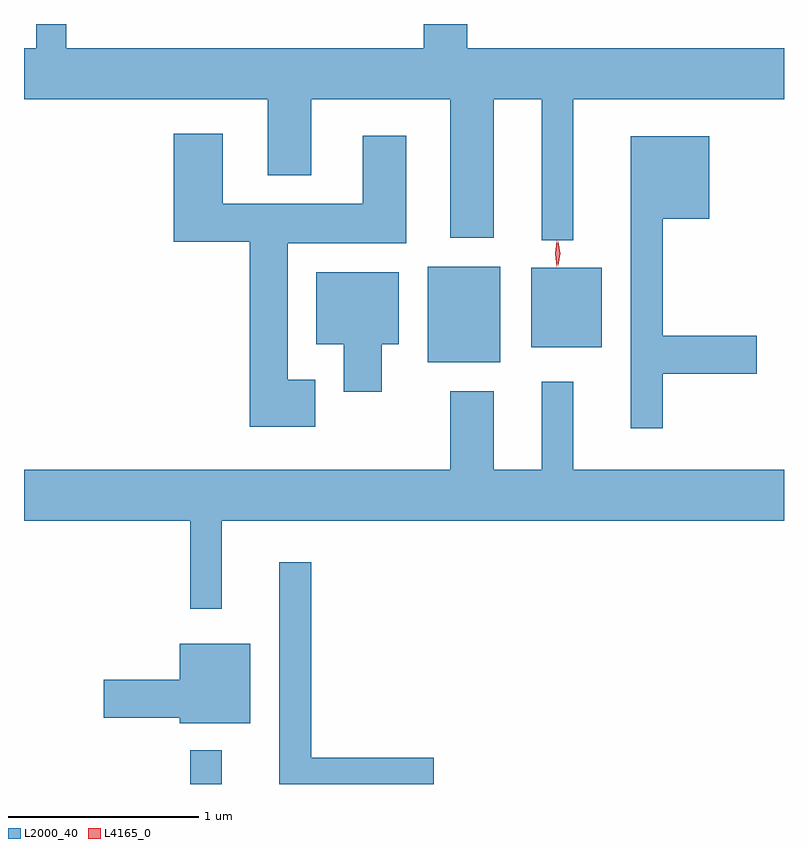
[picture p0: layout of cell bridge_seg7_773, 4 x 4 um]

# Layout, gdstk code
import gdstk
lib = gdstk.Library(unit=1e-6, precision=1e-09)
def R(c, l, rs):  # rectangles x0, y0, x1, y1
    for r in rs: c.add(gdstk.rectangle(r[:2], r[2:], *l))
def P(c, l, *ps):  # polygons
    for p in ps: c.add(gdstk.Polygon(p, *l))
L2000_40 = (2000, 40)
L4165_0 = (4165, 0)

bridge_seg7_773 = lib.new_cell('bridge_seg7_773')
R(bridge_seg7_773, L2000_40, [(259.381,1786.191,259.549,1786.368), (260.631,1788.411,261.014,1788.914), (261.176,1788.491,261.549,1788.909)])
P(bridge_seg7_773, L2000_40, [(261.399,1789.796),(262.507,1789.796),(262.507,1790.064),(260.839,1790.064),(260.839,1790.191),(260.611,1790.191),(260.611,1790.064),(258.729,1790.064),(258.729,1790.191),(258.571,1790.191),(258.571,1790.064),(258.507,1790.064),(258.507,1789.796),(259.791,1789.796),(259.791,1789.396),(260.019,1789.396),(260.019,1789.796),(260.751,1789.796),(260.751,1789.066),(260.979,1789.066),(260.979,1789.796),(261.231,1789.796),(261.231,1789.053),(261.399,1789.053)],
  [(260.039,1788.319),(259.894,1788.319),(259.894,1789.036),(260.519,1789.036),(260.519,1789.604),(260.291,1789.604),(260.291,1789.244),(259.554,1789.244),(259.554,1789.614),(259.296,1789.614),(259.296,1789.046),(259.696,1789.046),(259.696,1788.071),(260.039,1788.071)],
  [(261.869,1788.351),(262.364,1788.351),(262.364,1788.549),(261.869,1788.549),(261.869,1789.166),(262.114,1789.166),(262.114,1789.599),(261.701,1789.599),(261.701,1788.063),(261.869,1788.063)],
  [(260.389,1788.506),(260.479,1788.506),(260.479,1788.884),(260.046,1788.884),(260.046,1788.506),(260.191,1788.506),(260.191,1788.256),(260.389,1788.256)],
  [(259.549,1787.576),(262.507,1787.576),(262.507,1787.844),(261.399,1787.844),(261.399,1788.308),(261.231,1788.308),(261.231,1787.844),(260.979,1787.844),(260.979,1788.259),(260.751,1788.259),(260.751,1787.844),(258.507,1787.844),(258.507,1787.576),(259.381,1787.576),(259.381,1787.113),(259.549,1787.113)],
  [(260.664,1786.329),(260.019,1786.329),(260.019,1787.358),(259.851,1787.358),(259.851,1786.191),(260.664,1786.191)],
  [(259.699,1786.929),(259.326,1786.929),(259.326,1786.739),(258.926,1786.739),(258.926,1786.541),(259.326,1786.541),(259.326,1786.511),(259.699,1786.511)])
P(bridge_seg7_773, L4165_0, [(261.32,1788.918),(261.319,1788.919),(261.31,1788.983),(261.319,1789.047),(261.319,1789.047),(261.32,1789.047),(261.329,1788.983),(261.32,1788.919)],
  [(261.312,1788.914),(261.312,1788.914),(261.302,1788.982),(261.312,1789.05),(261.312,1789.05),(261.312,1789.05),(261.322,1788.982),(261.312,1788.914)])

lib.write_gds('bridge_seg7_773.gds')
